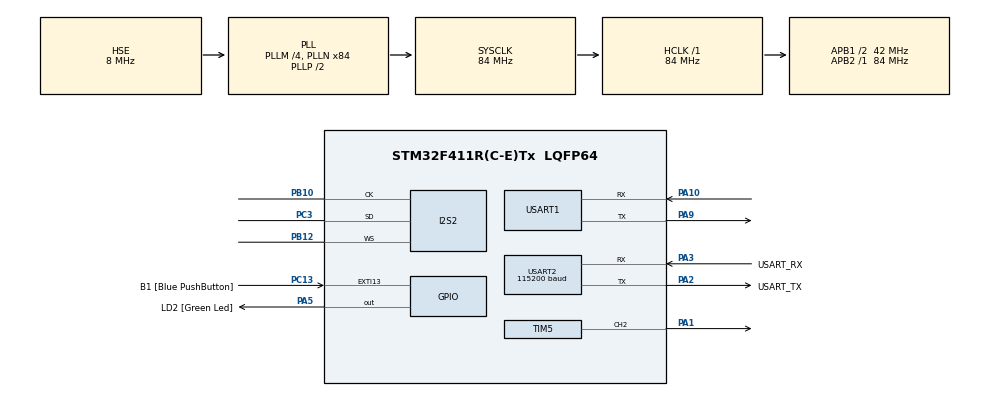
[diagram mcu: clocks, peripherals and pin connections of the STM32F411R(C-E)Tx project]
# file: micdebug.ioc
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Dma.Request0=SPI2_RX
Dma.SPI2_RX.0.Direction=DMA_PERIPH_TO_MEMORY
Dma.SPI2_RX.0.FIFOMode=DMA_FIFOMODE_DISABLE
Dma.SPI2_RX.0.Instance=DMA1_Stream3
Dma.SPI2_RX.0.MemDataAlignment=DMA_MDATAALIGN_HALFWORD
Dma.SPI2_RX.0.MemInc=DMA_MINC_ENABLE
Dma.SPI2_RX.0.Mode=DMA_CIRCULAR
Dma.SPI2_RX.0.PeriphDataAlignment=DMA_PDATAALIGN_HALFWORD
Dma.SPI2_RX.0.PeriphInc=DMA_PINC_DISABLE
Dma.SPI2_RX.0.Priority=DMA_PRIORITY_LOW
FREERTOS.Queues01=commandQueue,10,uint8_t,0,Dynamic,NULL,NULL
FREERTOS.Tasks01=defaultTask,0,128,StartDefaultTask,Default,NULL,Dynamic,NULL,NULL;AudioTask,0,10240,StartAudioTask,Default,NULL,Dynamic,NULL,NULL;ControlTask,2,512,StartControlTask,Default,NULL,Dynamic,NULL,NULL
FREERTOS.configTOTAL_HEAP_SIZE=60000
I2S2.AudioFreq=I2S_AUDIOFREQ_16K
I2S2.DataFormat=I2S_DATAFORMAT_16B
I2S2.ErrorAudioFreq=0.0 %
I2S2.FullDuplexMode=I2S_FULLDUPLEXMODE_DISABLE
I2S2.Instance=SPI$Index
I2S2.Mode=I2S_MODE_MASTER_RX
I2S2.RealAudioFreq=16.0 KHz
I2S2.VirtualMode=I2S_MODE_MASTER
Mcu.Family=STM32F4
Mcu.Name=STM32F411R(C-E)Tx
Mcu.Package=LQFP64
NVIC.DMA1_Stream3_IRQn=true\:5\:0\:false\:false\:true\:true\:false\:true\:true
NVIC.PriorityGroup=NVIC_PRIORITYGROUP_4
NVIC.SPI2_IRQn=true\:5\:0\:false\:false\:true\:true\:true\:true\:true
NVIC.TIM3_IRQn=true\:5\:0\:false\:false\:true\:true\:true\:true\:true
NVIC.TIM5_IRQn=true\:5\:0\:false\:false\:true\:true\:true\:true\:true
NVIC.USART1_IRQn=true\:5\:0\:false\:false\:true\:true\:true\:true\:true
NVIC.USART2_IRQn=true\:5\:0\:false\:false\:true\:true\:true\:true\:true
PA1.Signal=S_TIM5_CH2
PA10.Mode=Asynchronous
PA10.Signal=USART1_RX
PA13.GPIO_Label=TMS
PA13.Mode=Serial_Wire
PA13.Signal=SYS_JTMS-SWDIO
PA14.GPIO_Label=TCK
PA14.Mode=Serial_Wire
PA14.Signal=SYS_JTCK-SWCLK
PA2.GPIO_Label=USART_TX
PA2.Mode=Asynchronous
PA2.Signal=USART2_TX
PA3.GPIO_Label=USART_RX
PA3.Mode=Asynchronous
PA3.Signal=USART2_RX
PA5.GPIO_Label=LD2 [Green Led]
PA5.Signal=GPIO_Output
PA9.Mode=Asynchronous
PA9.Signal=USART1_TX
PB10.Mode=Half_Duplex_Master
PB10.Signal=I2S2_CK
PB12.Mode=Half_Duplex_Master
PB12.Signal=I2S2_WS
PB3.GPIO_Label=SWO
PB3.Signal=SYS_JTDO-SWO
PC13-ANTI_TAMP.GPIO_Label=B1 [Blue PushButton]
PC13-ANTI_TAMP.GPIO_ModeDefaultEXTI=GPIO_MODE_IT_FALLING
PC13-ANTI_TAMP.Signal=GPXTI13
PC14-OSC32_IN.Mode=LSE-External-Oscillator
PC14-OSC32_IN.Signal=RCC_OSC32_IN
PC15-OSC32_OUT.Mode=LSE-External-Oscillator
PC15-OSC32_OUT.Signal=RCC_OSC32_OUT
PC3.Mode=Half_Duplex_Master
PC3.Signal=I2S2_SD
PH0\ -\ OSC_IN.Mode=HSE-External-Clock-Source
PH0\ -\ OSC_IN.Signal=RCC_OSC_IN
PH1\ -\ OSC_OUT.Mode=HSE-External-Clock-Source
PH1\ -\ OSC_OUT.Signal=RCC_OSC_OUT
ProjectManager.HeapSize=0x200
ProjectManager.StackSize=0x400
ProjectManager.TargetToolchain=STM32CubeIDE
RCC.48MHZClocksFreq_Value=56000000
RCC.AHBFreq_Value=84000000
RCC.APB1CLKDivider=RCC_HCLK_DIV2
RCC.APB1Freq_Value=42000000
RCC.APB1TimFreq_Value=84000000
RCC.APB2Freq_Value=84000000
RCC.APB2TimFreq_Value=84000000
RCC.CortexFreq_Value=84000000
RCC.FLatency-AdvancedSettings=FLASH_LATENCY_2
RCC.HCLKFreq_Value=84000000
RCC.HSE_VALUE=8000000
RCC.HSI_VALUE=16000000
RCC.PLLI2SM=4
RCC.PLLM=4
RCC.PLLN=84
RCC.PLLQ=3
RCC.PLLSourceVirtual=RCC_PLLSOURCE_HSE
RCC.SYSCLKFreq_VALUE=84000000
RCC.SYSCLKSource=RCC_SYSCLKSOURCE_PLLCLK
RCC.VCOOutputFreq_Value=168000000
SH.S_TIM5_CH2.0=TIM5_CH2,PWM Generation2 CH2
TIM3.Prescaler=83
TIM5.Channel-PWM\ Generation2\ CH2=TIM_CHANNEL_2
TIM5.Period=1894
TIM5.Pulse-PWM\ Generation2\ CH2=947
USART1.VirtualMode=VM_ASYNC
USART2.BaudRate=115200
USART2.VirtualMode=VM_ASYNC
VP_CRC_VS_CRC.Mode=CRC_Activate
VP_FREERTOS_VS_CMSIS_V1.Mode=CMSIS_V1
VP_TIM3_VS_ClockSourceINT.Mode=Internal
board=NUCLEO-F411RE

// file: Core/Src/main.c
/* USER CODE BEGIN Header */
/**
  ******************************************************************************
  * @file           : main.c
  * @brief          : Main program body
  ******************************************************************************
  * @attention
  *
  * Copyright (c) 2025 STMicroelectronics.
  * All rights reserved.
  *
  * This software is licensed under terms that can be found in the LICENSE file
  * in the root directory of this software component.
  * If no LICENSE file comes with this software, it is provided AS-IS.
  *
  ******************************************************************************
  */
/* USER CODE END Header */
#include "main.h"
#include "cmsis_os.h"

/* USER CODE BEGIN Includes */
#include <string.h>
#include <stdio.h>
#include <stdint.h>
#include <stdbool.h>
#include <ctype.h>
#include <stdlib.h>
#include "pv_st_f411.h"
#include "stm32f4xx_hal.h"

// --- PORCUPINE INCLUDES ---
#include "pv_picovoice.h"
#include "keyword_params.h" // Your Alexa/Keyword header
/* USER CODE END Includes */

/* USER CODE BEGIN PTD */
typedef enum {
    IR_IDLE = 0,
    IR_SENDING_MARK,
    IR_SENDING_SPACE
} IR_State_t;

typedef struct {
    uint16_t mark_us;
    uint16_t space_us;
} IR_Pulse_t;

/* USER CODE END PTD */

/* USER CODE BEGIN PD */
// --- AUDIO CONFIG ---
#define SAMPLE_RATE 16000
#define FRAME_SIZE 512
#define CHANNELS 2
#define I2S_BUFFER_SIZE (FRAME_SIZE * CHANNELS * 2)
#define MEMORY_BUFFER_SIZE (1024 * 43)

// --- DAIKIN / HW CONFIG ---
#define DHT11_PORT GPIOB
#define DHT11_PIN  GPIO_PIN_0

#define DAIKIN176_HDR_MARK      5070
#define DAIKIN176_HDR_SPACE     2140
#define DAIKIN176_BIT_MARK      370
#define DAIKIN176_ONE_SPACE     1780
#define DAIKIN176_ZERO_SPACE    710
#define DAIKIN176_GAP           29410
#define DAIKIN176_STATE_LENGTH  22
#define DAIKIN176_SECTION1_LEN  7
#define MAX_PULSES              300

// AC Constants
#define DAIKIN176_MODE_FAN      0
#define DAIKIN176_MODE_HEAT     1
#define DAIKIN176_MODE_COOL     2
#define DAIKIN176_MODE_AUTO     3
#define DAIKIN176_MODE_DRY      7

#define DAIKIN176_FAN_LOW       1
#define DAIKIN176_FAN_MED       2
#define DAIKIN176_FAN_HIGH      3
#define DAIKIN176_SWING_AUTO    0x5
#define DAIKIN176_SWING_OFF     0x6
#define DAIKIN176_DRY_FAN_TEMP  17
/* USER CODE END PD */

CRC_HandleTypeDef hcrc;

I2S_HandleTypeDef hi2s2;
DMA_HandleTypeDef hdma_spi2_rx;

TIM_HandleTypeDef htim3;
TIM_HandleTypeDef htim5;

UART_HandleTypeDef huart1;
UART_HandleTypeDef huart2;

osThreadId defaultTaskHandle;
osThreadId AudioTaskHandle;
osThreadId ControlTaskHandle;
osMessageQId commandQueueHandle;
/* USER CODE BEGIN PV */
int __io_putchar(int ch) {
    HAL_UART_Transmit(&huart2, (uint8_t *)&ch, 1, 10);
    return ch;
}

// --- HARDWARE HANDLES ---
TIM_HandleTypeDef htim3; // Manually added as it was missing in generated code

// --- AUDIO DATA ---
uint16_t i2s_rx_buffer[I2S_BUFFER_SIZE];
int16_t mono_pcm_buffer[FRAME_SIZE];
volatile uint8_t half_transfer_flag = 0;
volatile uint8_t full_transfer_flag = 0;

//static const char* ACCESS_KEY = "1tRtNkoHDZntOJsz9hWww1pEZ7Ox8nzMBa14btCoTyUTSTBFRxgd/A==";
static const char* ACCESS_KEY = "cTKsua4o2+I4XCobOlBW3ujPKjrQAV8W6ZoyLiBfsdZgJbtYkuPqZQ==";
static uint8_t memory_buffer[MEMORY_BUFFER_SIZE] __attribute__((aligned(16)));
// Picovoice Objects
pv_picovoice_t *picovoice_handle = NULL;

// Parameters
static const float PORCUPINE_SENSITIVITY = 0.75f;
static const float RHINO_SENSITIVITY = 0.5f;
static const float RHINO_ENDPOINT_DURATION_SEC = 0.5f;
static const bool RHINO_REQUIRE_ENDPOINT = true;

// --- AC / UART DATA ---
uint8_t rx_buffer[1];
char msg_buffer[50];
int msg_index = 0;
volatile uint8_t msg_ready = 0;
char tx_buffer[200];

// AC Internal State
uint8_t ac_power = 0;
uint8_t ac_mode = DAIKIN176_MODE_COOL;
uint8_t ac_fan = DAIKIN176_FAN_MED;
uint8_t ac_temp = 25;
uint8_t ac_swing = 0;

uint8_t R_H, R_D, T_H, T_D, Sum;

// IR State
uint8_t daikin176_state[DAIKIN176_STATE_LENGTH] = {
    0x11, 0xDA, 0x17, 0x18, 0x04, 0x00, 0xC4,
    0x11, 0xDA, 0x17, 0x18, 0x00, 0x73, 0x00,
    0x20, 0x00, 0x00, 0x32, 0x60, 0x00, 0x00, 0x00
};
volatile IR_State_t ir_state = IR_IDLE;
volatile IR_Pulse_t pulse_buffer[MAX_PULSES];
volatile uint16_t pulse_count = 0;
volatile uint16_t pulse_index = 0;
volatile bool ir_busy = false;

// DHT11
uint8_t temp_int = 0, hum_int = 0;
/* USER CODE END PV */

void SystemClock_Config(void);
static void MX_GPIO_Init(void);
static void MX_DMA_Init(void);
static void MX_USART2_UART_Init(void);
static void MX_I2S2_Init(void);
static void MX_CRC_Init(void);
static void MX_USART1_UART_Init(void);
static void MX_TIM5_Init(void);
static void MX_TIM3_Init(void);
void StartDefaultTask(void const * argument);
void StartAudioTask(void const * argument);
void StartControlTask(void const * argument);

/* USER CODE BEGIN PFP */

void AC_SetMode(uint8_t mode);
void AC_SetFan(uint8_t speed);
void AC_SetSwing(uint8_t on);
const char* AC_GetModeString(uint8_t mode);
const char* AC_GetFanString(uint8_t fan);
bool IR_IsBusy(void);
// AC/IR Functions
void AC_SetPower(uint8_t on);
void AC_SetTemp(uint8_t temp);
void AC_SendCommand(void);
void AC_UpdateState(void);
void IR_BuildDaikin176(void);
void IR_StartTransmission(void);
void IR_AddPulse(uint16_t mark_us, uint16_t space_us);
uint8_t IR_CalculateChecksum(uint8_t *data, uint8_t length);
uint8_t DHT11_Read_Data(void);
void DWT_Delay_us(volatile uint32_t microseconds);
/* USER CODE END PFP */

/* USER CODE BEGIN 0 */
bool flagOn = 1;

// Enum for Queue Commands
enum {
    CMD_NONE = 0,
    CMD_WAKE_WORD_DETECTED,
    CMD_UART_MSG_READY,
    // Voice Commands
    CMD_AC_ON, CMD_AC_OFF,
    CMD_FAN_LOW, CMD_FAN_MED, CMD_FAN_HIGH,
    CMD_MODE_COOL, CMD_MODE_DRY, CMD_MODE_FAN,
    CMD_TEMP_WARMER, CMD_TEMP_COOLER,
    CMD_SWING_ON, CMD_SWING_OFF
};

// Helper to find slot value in inference result
const char* get_slot_value(pv_inference_t *inference, const char* slot_name) {
    for (int i = 0; i < inference->num_slots; i++) {
        if (strcmp(inference->slots[i], slot_name) == 0) {
            return inference->values[i];
        }
    }
    return NULL;
}
static void wake_word_callback(void) {
    char uart_buf[64]; // Buffer for the message
    int len;

    // Visual feedback
    HAL_GPIO_WritePin(LD2_GPIO_Port, LD2_Pin, GPIO_PIN_SET);

    // Format and Send
    len = sprintf(uart_buf, "[Wake Word Detected]\r\n");
    HAL_UART_Transmit(&huart2, (uint8_t*)uart_buf, len, 100);
}

static void inference_callback(pv_inference_t *inference) {
    char uart_buf[256]; // Larger buffer for JSON data
    int len;

    HAL_GPIO_WritePin(LD2_GPIO_Port, LD2_Pin, GPIO_PIN_RESET);

    // 1. Open Bracket
    len = sprintf(uart_buf, "{\r\n");
    HAL_UART_Transmit(&huart2, (uint8_t*)uart_buf, len, 100);

    // 2. Is Understood
    len = sprintf(uart_buf, "    is_understood : '%s',\r\n", (inference->is_understood ? "true" : "false"));
    HAL_UART_Transmit(&huart2, (uint8_t*)uart_buf, len, 100);

    if (inference->is_understood) {
        // 3. Intent
        len = sprintf(uart_buf, "    intent : '%s',\r\n", inference->intent);
        HAL_UART_Transmit(&huart2, (uint8_t*)uart_buf, len, 100);

        if (inference->num_slots > 0) {
            // 4. Slots Header
            len = sprintf(uart_buf, "    slots : {\r\n");
            HAL_UART_Transmit(&huart2, (uint8_t*)uart_buf, len, 100);

            // 5. Iterate Slots
            for (int32_t i = 0; i < inference->num_slots; i++) {
                len = sprintf(uart_buf, "        '%s' : '%s',\r\n", inference->slots[i], inference->values[i]);
                HAL_UART_Transmit(&huart2, (uint8_t*)uart_buf, len, 100);
            }

            // 6. Close Slots
            len = sprintf(uart_buf, "    }\r\n");
            HAL_UART_Transmit(&huart2, (uint8_t*)uart_buf, len, 100);
        }
    }

    // 7. Close JSON
    len = sprintf(uart_buf, "}\r\n\r\n");
    HAL_UART_Transmit(&huart2, (uint8_t*)uart_buf, len, 100);

    uint8_t command_to_send = CMD_NONE;

        if (inference->is_understood) {
            if (strcmp(inference->intent, "changePower") == 0) {
                const char* state = get_slot_value(inference, "ac_state");
                if (state) {
                    if (strcmp(state, "on") == 0) command_to_send = CMD_AC_ON;
                    else if (strcmp(state, "off") == 0) command_to_send = CMD_AC_OFF;
                }
            }
            else if (strcmp(inference->intent, "changeFan") == 0) {
                const char* speed = get_slot_value(inference, "fan_speed");
                if (speed) {
                    if (strcmp(speed, "low") == 0) command_to_send = CMD_FAN_LOW;
                    else if (strcmp(speed, "med") == 0) command_to_send = CMD_FAN_MED;
                    else if (strcmp(speed, "high") == 0) command_to_send = CMD_FAN_HIGH;
                }
            }
            else if (strcmp(inference->intent, "changeMode") == 0) {
                const char* mode = get_slot_value(inference, "ac_mode");
                if (mode) {
                    if (strcmp(mode, "cool") == 0) command_to_send = CMD_MODE_COOL;
                    else if (strcmp(mode, "dry") == 0) command_to_send = CMD_MODE_DRY;
                    else if (strcmp(mode, "fan") == 0) command_to_send = CMD_MODE_FAN;
                }
            }
            else if (strcmp(inference->intent, "changeTemp") == 0) {
                const char* temp = get_slot_value(inference, "temperature");
                if (temp) {
                    if (strcmp(temp, "warmer") == 0) command_to_send = CMD_TEMP_WARMER;
                    else if (strcmp(temp, "cooler") == 0) command_to_send = CMD_TEMP_COOLER;
                }
            }
            else if (strcmp(inference->intent, "changeSwing") == 0) {
                const char* state = get_slot_value(inference, "ac_state");
                if (state) {
                    if (strcmp(state, "on") == 0) command_to_send = CMD_SWING_ON;
                    else if (strcmp(state, "off") == 0) command_to_send = CMD_SWING_OFF;
                }
            }
        }

        // Send the mapped command to the Control Task
        if (command_to_send != CMD_NONE) {
            osMessagePut(commandQueueHandle, command_to_send, 0);
        }
    pv_inference_delete(inference);
}
/* USER CODE END 0 */

int main(void)
{

  /* USER CODE BEGIN 1 */
	//pv_board_init();

  /* USER CODE END 1 */

  /* MCU Configuration--------------------------------------------------------*/

  /* Reset of all peripherals, Initializes the Flash interface and the Systick. */
  HAL_Init();

  /* Configure the system clock */
  SystemClock_Config();

  /* Initialize all configured peripherals */
  MX_GPIO_Init();
  MX_DMA_Init();
  MX_USART2_UART_Init();
  MX_I2S2_Init();
  MX_CRC_Init();
  MX_USART1_UART_Init();
  MX_TIM5_Init();
  MX_TIM3_Init();
  /* USER CODE BEGIN 2 */
  DWT_Delay_Init();

  const int32_t lib_frame_len = pv_picovoice_frame_length();

       char uart_buf[64]; // Buffer for UART messages
       int len;

       // Check if there is a mismatch at startup
       if (lib_frame_len != FRAME_SIZE) {
           len = sprintf(uart_buf, "CRITICAL WARNING: Lib wants %ld samples, but DMA is %d\r\n", lib_frame_len, FRAME_SIZE);
           HAL_UART_Transmit(&huart2, (uint8_t*)uart_buf, len, 100);
           // If you see this warning, you MUST change #define FRAME_SIZE in main.h
       } else {
           len = sprintf(uart_buf, "Audio Task Started. Frame Len: %ld\r\n", lib_frame_len);
           HAL_UART_Transmit(&huart2, (uint8_t*)uart_buf, len, 100);
       }

       int32_t required_memory = 0;

           // We use the existing 'memory_buffer' as the scratchpad (preliminary buffer)
           pv_status_t mem_status = pv_picovoice_get_min_memory_buffer_size(
               MEMORY_BUFFER_SIZE,      // 1. Preliminary Size (Your max buffer)
               memory_buffer,           // 2. Preliminary Buffer Pointer
               sizeof(KEYWORD_ARRAY),   // 3. Keyword Size
               KEYWORD_ARRAY,           // 4. Keyword Model
               sizeof(CONTEXT_ARRAY),   // 5. Context Size
               CONTEXT_ARRAY,           // 6. Context Model
               &required_memory         // 7. Output: The actual size needed
           );

           if (mem_status != PV_STATUS_SUCCESS) {
               char err_buf[64];
               int l = sprintf(err_buf, "PV Mem Check Fail: %s\r\n", pv_status_to_string(mem_status));
               HAL_UART_Transmit(&huart2, (uint8_t*)err_buf, l, 100);
               Error_Handler();
           }

           // Print the result to UART
           char mem_msg[64];
           int l = sprintf(mem_msg, "PV RAM Needed: %ld bytes\r\n", required_memory);
           HAL_UART_Transmit(&huart2, (uint8_t*)mem_msg, l, 100);

           // Verify we have enough space
           if (required_memory > MEMORY_BUFFER_SIZE) {
               char err_msg[] = "ERROR: MEMORY_BUFFER_SIZE too small!\r\n";
               HAL_UART_Transmit(&huart2, (uint8_t*)err_msg, strlen(err_msg), 100);
               Error_Handler();
           }
  // 1. Initialize Manual Hardware (TIM3 & DWT)

    // 2. RE-CONFIGURE TIM5 for 38kHz (Your generated code set it to MAX)
    // Assuming 72MHz or 84MHz clock. This sets period to ~26us
    __HAL_TIM_SET_PRESCALER(&htim5, 0);
    __HAL_TIM_SET_AUTORELOAD(&htim5, 2210); // Adjust based on your APB1 clock!
    __HAL_TIM_SET_COMPARE(&htim5, TIM_CHANNEL_2, 1105); // 50% Duty
    pv_board_init();
     const uint8_t *board_uuid = pv_get_uuid();
//
//    	char uart_buf[64];
//    	int len;
//
//    	// 1. Print Opening Separator
//    	len = sprintf(uart_buf, "\r\n============================\r\n");
//    	HAL_UART_Transmit(&huart2, (uint8_t*)uart_buf, len, 100);
//
//    	// 2. Print UUID Label
//    	len = sprintf(uart_buf, "UUID: ");
//    	HAL_UART_Transmit(&huart2, (uint8_t*)uart_buf, len, 100);
//
//    	// 3. Print UUID Bytes Loop
//    	for (uint32_t i = 0; i < pv_get_uuid_size(); i++) {
//    	    len = sprintf(uart_buf, " %.2x", board_uuid[i]);
//    	    HAL_UART_Transmit(&huart2, (uint8_t*)uart_buf, len, 100);
//    	}
//
//    	// 4. Print Closing Separator
//    	len = sprintf(uart_buf, "\r\n============================\r\n");
//    	HAL_UART_Transmit(&huart2, (uint8_t*)uart_buf, len, 100);
    printf("\r\n============================\r\n");

        printf("UUID: ");

        for (uint32_t i = 0; i < pv_get_uuid_size(); i++) {

            printf(" %.2x", board_uuid[i]);

        }

        printf("\r\n============================\r\n");

        // 3. Picovoice Init (Replaces Porcupine Init)
            pv_status_t status = pv_picovoice_init(
                    ACCESS_KEY,
                    MEMORY_BUFFER_SIZE,
                    memory_buffer,
                    sizeof(KEYWORD_ARRAY),
                    KEYWORD_ARRAY,
                    PORCUPINE_SENSITIVITY,
                    wake_word_callback,
                    sizeof(CONTEXT_ARRAY),
                    CONTEXT_ARRAY,
                    RHINO_SENSITIVITY,
                    RHINO_ENDPOINT_DURATION_SEC,
                    RHINO_REQUIRE_ENDPOINT,
                    inference_callback,
                    &picovoice_handle);

            if (status != PV_STATUS_SUCCESS) {
                char err_msg[64];
                sprintf(err_msg, "PV INIT FAIL: %s\r\n", pv_status_to_string(status));
                HAL_UART_Transmit(&huart2, (uint8_t*)err_msg, strlen(err_msg), 100);
                Error_Handler();
            } else {
                // Print Context Info for debugging
                const char *rhino_context = NULL;
                pv_picovoice_context_info(picovoice_handle, &rhino_context);
                printf("Context: %s\r\n", rhino_context);
            }

    // 4. Start Listening
    AC_UpdateState();
    IR_BuildDaikin176();
    HAL_UART_Receive_IT(&huart1, rx_buffer, 1);
    HAL_I2S_Receive_DMA(&hi2s2, i2s_rx_buffer, I2S_BUFFER_SIZE);

    // 5. Create RTOS Objects
//    osMessageQDef(cmdQ, 5, uint8_t);
//    commandQueueHandle = osMessageCreate(osMessageQ(cmdQ), NULL);
//
//    osThreadDef(AudioTask, StartAudioTask, osPriorityAboveNormal, 0, 4096);
//    AudioTaskHandle = osThreadCreate(osThread(AudioTask), NULL);
//
//    osThreadDef(ControlTask, StartControlTask, osPriorityNormal, 0, 1024);
//    ControlTaskHandle = osThreadCreate(osThread(ControlTask), NULL);

    char msg[] = "\r\nstarting\r\n";
                            HAL_UART_Transmit(&huart2, (uint8_t*)msg, strlen(msg), 100);

    // Note: We ignore defaultTask created below, it will just yield.
  /* USER CODE END 2 */

  /* Create the queue(s) */
  /* definition and creation of commandQueue */
  osMessageQDef(commandQueue, 10, uint8_t);
  commandQueueHandle = osMessageCreate(osMessageQ(commandQueue), NULL);

  /* Create the thread(s) */
  /* definition and creation of defaultTask */
  osThreadDef(defaultTask, StartDefaultTask, osPriorityNormal, 0, 128);
  defaultTaskHandle = osThreadCreate(osThread(defaultTask), NULL);

  /* definition and creation of AudioTask */
  osThreadDef(AudioTask, StartAudioTask, osPriorityNormal, 0, 10240);
  AudioTaskHandle = osThreadCreate(osThread(AudioTask), NULL);

  /* definition and creation of ControlTask */
  osThreadDef(ControlTask, StartControlTask, osPriorityHigh, 0, 512);
  ControlTaskHandle = osThreadCreate(osThread(ControlTask), NULL);

  /* Start scheduler */
  osKernelStart();

  /* We should never get here as control is now taken by the scheduler */

  /* Infinite loop */
  while (1)
  {

  }
}

void SystemClock_Config(void)
{
  RCC_OscInitTypeDef RCC_OscInitStruct = {0};
  RCC_ClkInitTypeDef RCC_ClkInitStruct = {0};

  /** Configure the main internal regulator output voltage
  */
  __HAL_RCC_PWR_CLK_ENABLE();
  __HAL_PWR_VOLTAGESCALING_CONFIG(PWR_REGULATOR_VOLTAGE_SCALE1);

  /** Initializes the RCC Oscillators according to the specified parameters
  * in the RCC_OscInitTypeDef structure.
  */
  RCC_OscInitStruct.OscillatorType = RCC_OSCILLATORTYPE_HSE;
  RCC_OscInitStruct.HSEState = RCC_HSE_BYPASS;
  RCC_OscInitStruct.PLL.PLLState = RCC_PLL_ON;
  RCC_OscInitStruct.PLL.PLLSource = RCC_PLLSOURCE_HSE;
  RCC_OscInitStruct.PLL.PLLM = 4;
  RCC_OscInitStruct.PLL.PLLN = 84;
  RCC_OscInitStruct.PLL.PLLP = RCC_PLLP_DIV2;
  RCC_OscInitStruct.PLL.PLLQ = 3;
  if (HAL_RCC_OscConfig(&RCC_OscInitStruct) != HAL_OK)
  {
    Error_Handler();
  }

  /** Initializes the CPU, AHB and APB buses clocks
  */
  RCC_ClkInitStruct.ClockType = RCC_CLOCKTYPE_HCLK|RCC_CLOCKTYPE_SYSCLK
                              |RCC_CLOCKTYPE_PCLK1|RCC_CLOCKTYPE_PCLK2;
  RCC_ClkInitStruct.SYSCLKSource = RCC_SYSCLKSOURCE_PLLCLK;
  RCC_ClkInitStruct.AHBCLKDivider = RCC_SYSCLK_DIV1;
  RCC_ClkInitStruct.APB1CLKDivider = RCC_HCLK_DIV2;
  RCC_ClkInitStruct.APB2CLKDivider = RCC_HCLK_DIV1;

  if (HAL_RCC_ClockConfig(&RCC_ClkInitStruct, FLASH_LATENCY_2) != HAL_OK)
  {
    Error_Handler();
  }
}

static void MX_CRC_Init(void)
{

  hcrc.Instance = CRC;
  if (HAL_CRC_Init(&hcrc) != HAL_OK)
  {
    Error_Handler();
  }

}

static void MX_I2S2_Init(void)
{

  hi2s2.Instance = SPI2;
  hi2s2.Init.Mode = I2S_MODE_MASTER_RX;
  hi2s2.Init.Standard = I2S_STANDARD_PHILIPS;
  hi2s2.Init.DataFormat = I2S_DATAFORMAT_16B;
  hi2s2.Init.MCLKOutput = I2S_MCLKOUTPUT_DISABLE;
  hi2s2.Init.AudioFreq = I2S_AUDIOFREQ_16K;
  hi2s2.Init.CPOL = I2S_CPOL_LOW;
  hi2s2.Init.ClockSource = I2S_CLOCK_PLL;
  hi2s2.Init.FullDuplexMode = I2S_FULLDUPLEXMODE_DISABLE;
  if (HAL_I2S_Init(&hi2s2) != HAL_OK)
  {
    Error_Handler();
  }

}

static void MX_TIM3_Init(void)
{

  TIM_ClockConfigTypeDef sClockSourceConfig = {0};
  TIM_MasterConfigTypeDef sMasterConfig = {0};

  htim3.Instance = TIM3;
  htim3.Init.Prescaler = 83;
  htim3.Init.CounterMode = TIM_COUNTERMODE_UP;
  htim3.Init.Period = 65535;
  htim3.Init.ClockDivision = TIM_CLOCKDIVISION_DIV1;
  htim3.Init.AutoReloadPreload = TIM_AUTORELOAD_PRELOAD_DISABLE;
  if (HAL_TIM_Base_Init(&htim3) != HAL_OK)
  {
    Error_Handler();
  }
  sClockSourceConfig.ClockSource = TIM_CLOCKSOURCE_INTERNAL;
  if (HAL_TIM_ConfigClockSource(&htim3, &sClockSourceConfig) != HAL_OK)
  {
    Error_Handler();
  }
  sMasterConfig.MasterOutputTrigger = TIM_TRGO_RESET;
  sMasterConfig.MasterSlaveMode = TIM_MASTERSLAVEMODE_DISABLE;
  if (HAL_TIMEx_MasterConfigSynchronization(&htim3, &sMasterConfig) != HAL_OK)
  {
    Error_Handler();
  }

}

static void MX_TIM5_Init(void)
{

  TIM_MasterConfigTypeDef sMasterConfig = {0};
  TIM_OC_InitTypeDef sConfigOC = {0};

  htim5.Instance = TIM5;
  htim5.Init.Prescaler = 0;
  htim5.Init.CounterMode = TIM_COUNTERMODE_UP;
  htim5.Init.Period = 1894;
  htim5.Init.ClockDivision = TIM_CLOCKDIVISION_DIV1;
  htim5.Init.AutoReloadPreload = TIM_AUTORELOAD_PRELOAD_DISABLE;
  if (HAL_TIM_PWM_Init(&htim5) != HAL_OK)
  {
    Error_Handler();
  }
  sMasterConfig.MasterOutputTrigger = TIM_TRGO_RESET;
  sMasterConfig.MasterSlaveMode = TIM_MASTERSLAVEMODE_DISABLE;
  if (HAL_TIMEx_MasterConfigSynchronization(&htim5, &sMasterConfig) != HAL_OK)
  {
    Error_Handler();
  }
  sConfigOC.OCMode = TIM_OCMODE_PWM1;
  sConfigOC.Pulse = 947;
  sConfigOC.OCPolarity = TIM_OCPOLARITY_HIGH;
  sConfigOC.OCFastMode = TIM_OCFAST_DISABLE;
  if (HAL_TIM_PWM_ConfigChannel(&htim5, &sConfigOC, TIM_CHANNEL_2) != HAL_OK)
  {
    Error_Handler();
  }
  HAL_TIM_MspPostInit(&htim5);

}

static void MX_USART1_UART_Init(void)
{

  huart1.Instance = USART1;
  huart1.Init.BaudRate = 115200;
  huart1.Init.WordLength = UART_WORDLENGTH_8B;
  huart1.Init.StopBits = UART_STOPBITS_1;
  huart1.Init.Parity = UART_PARITY_NONE;
  huart1.Init.Mode = UART_MODE_TX_RX;
  huart1.Init.HwFlowCtl = UART_HWCONTROL_NONE;
  huart1.Init.OverSampling = UART_OVERSAMPLING_16;
  if (HAL_UART_Init(&huart1) != HAL_OK)
  {
    Error_Handler();
  }

}

static void MX_USART2_UART_Init(void)
{

  huart2.Instance = USART2;
  huart2.Init.BaudRate = 115200;
  huart2.Init.WordLength = UART_WORDLENGTH_8B;
  huart2.Init.StopBits = UART_STOPBITS_1;
  huart2.Init.Parity = UART_PARITY_NONE;
  huart2.Init.Mode = UART_MODE_TX_RX;
  huart2.Init.HwFlowCtl = UART_HWCONTROL_NONE;
  huart2.Init.OverSampling = UART_OVERSAMPLING_16;
  if (HAL_UART_Init(&huart2) != HAL_OK)
  {
    Error_Handler();
  }

}

static void MX_DMA_Init(void)
{

  /* DMA controller clock enable */
  __HAL_RCC_DMA1_CLK_ENABLE();

  /* DMA interrupt init */
  /* DMA1_Stream3_IRQn interrupt configuration */
  HAL_NVIC_SetPriority(DMA1_Stream3_IRQn, 5, 0);
  HAL_NVIC_EnableIRQ(DMA1_Stream3_IRQn);

}

static void MX_GPIO_Init(void)
{
  GPIO_InitTypeDef GPIO_InitStruct = {0};

  /* GPIO Ports Clock Enable */
  __HAL_RCC_GPIOC_CLK_ENABLE();
  __HAL_RCC_GPIOH_CLK_ENABLE();
  __HAL_RCC_GPIOA_CLK_ENABLE();
  __HAL_RCC_GPIOB_CLK_ENABLE();

  /*Configure GPIO pin Output Level */
  HAL_GPIO_WritePin(LD2_GPIO_Port, LD2_Pin, GPIO_PIN_RESET);

  /*Configure GPIO pin : B1_Pin */
  GPIO_InitStruct.Pin = B1_Pin;
  GPIO_InitStruct.Mode = GPIO_MODE_IT_FALLING;
  GPIO_InitStruct.Pull = GPIO_NOPULL;
  HAL_GPIO_Init(B1_GPIO_Port, &GPIO_InitStruct);

  /*Configure GPIO pin : LD2_Pin */
  GPIO_InitStruct.Pin = LD2_Pin;
  GPIO_InitStruct.Mode = GPIO_MODE_OUTPUT_PP;
  GPIO_InitStruct.Pull = GPIO_NOPULL;
  GPIO_InitStruct.Speed = GPIO_SPEED_FREQ_LOW;
  HAL_GPIO_Init(LD2_GPIO_Port, &GPIO_InitStruct);

}

/* USER CODE BEGIN 4 */
// --- TASKS ---

// --- CALLBACKS ---

void HAL_I2S_RxHalfCpltCallback(I2S_HandleTypeDef *hi2s) { half_transfer_flag = 1; }
void HAL_I2S_RxCpltCallback(I2S_HandleTypeDef *hi2s) { full_transfer_flag = 1; }

void HAL_UART_RxCpltCallback(UART_HandleTypeDef *huart) {
    if (huart->Instance == USART1) {
        char received = (char)rx_buffer[0];

        // Check for Newline or Carriage Return
        if (received == '\n' || received == '\r') {
            // ONLY process if we actually have data in the buffer
            if (msg_index > 0) {
                msg_buffer[msg_index] = '\0'; // Null terminate the string
                msg_index = 0;                // Reset index IMMEDIATELY to prevent double trigger

                // Send to queue
                osMessagePut(commandQueueHandle, CMD_UART_MSG_READY, 0);
            }
            // If msg_index is 0, it means we just processed the \r,
            // so we ignore the following \n.
        }
        else {
            // It's a normal character, add to buffer
            if (msg_index < 49) {
                msg_buffer[msg_index++] = received;
            }
        }

        // Restart Interrupt
        HAL_UART_Receive_IT(&huart1, rx_buffer, 1);
    }
}

void HAL_TIM_PeriodElapsedCallback(TIM_HandleTypeDef *htim) {
    if (htim->Instance == TIM3) {
        if (ir_state == IR_SENDING_MARK) {
            HAL_TIM_PWM_Stop(&htim5, TIM_CHANNEL_2);
            if (pulse_buffer[pulse_index].space_us > 0) {
                ir_state = IR_SENDING_SPACE;
                __HAL_TIM_SET_COUNTER(&htim3, 0);
                __HAL_TIM_SET_AUTORELOAD(&htim3, pulse_buffer[pulse_index].space_us);
            } else {
                HAL_TIM_Base_Stop_IT(&htim3);
                ir_state = IR_IDLE;
                ir_busy = false;
            }
        } else if (ir_state == IR_SENDING_SPACE) {
            pulse_index++;
            if (pulse_index >= pulse_count) {
                HAL_TIM_Base_Stop_IT(&htim3);
                ir_state = IR_IDLE;
                ir_busy = false;
            } else {
                ir_state = IR_SENDING_MARK;
                HAL_TIM_PWM_Start(&htim5, TIM_CHANNEL_2);
                __HAL_TIM_SET_COUNTER(&htim3, 0);
                __HAL_TIM_SET_AUTORELOAD(&htim3, pulse_buffer[pulse_index].mark_us);
            }
        }
    }
}

void Set_Pin_Output(GPIO_TypeDef *GPIOx, uint16_t GPIO_Pin) {
    GPIO_InitTypeDef GPIO_InitStruct = {0};
    GPIO_InitStruct.Pin = GPIO_Pin;
    GPIO_InitStruct.Mode = GPIO_MODE_OUTPUT_PP;
    GPIO_InitStruct.Speed = GPIO_SPEED_FREQ_LOW;
    HAL_GPIO_Init(GPIOx, &GPIO_InitStruct);
}

void Set_Pin_Input(GPIO_TypeDef *GPIOx, uint16_t GPIO_Pin) {
    GPIO_InitTypeDef GPIO_InitStruct = {0};
    GPIO_InitStruct.Pin = GPIO_Pin;
    GPIO_InitStruct.Mode = GPIO_MODE_INPUT;
    GPIO_InitStruct.Pull = GPIO_NOPULL;
    HAL_GPIO_Init(GPIOx, &GPIO_InitStruct);
}
// AC Helper Functions
void AC_SetMode(uint8_t mode) {
    ac_mode = mode;
}

void AC_SetFan(uint8_t speed) {
    if (speed >= DAIKIN176_FAN_LOW && speed <= DAIKIN176_FAN_HIGH) {
        ac_fan = speed;
    }
}

void AC_SetSwing(uint8_t on) {
    ac_swing = on ? 1 : 0;
}

const char* AC_GetModeString(uint8_t mode) {
    switch (mode) {
        case DAIKIN176_MODE_COOL: return "cool";
        case DAIKIN176_MODE_HEAT: return "heat";
        case DAIKIN176_MODE_AUTO: return "auto";
        case DAIKIN176_MODE_DRY:  return "dry";
        case DAIKIN176_MODE_FAN:  return "fan";
        default: return "unknown";
    }
}

const char* AC_GetFanString(uint8_t fan) {
    switch (fan) {
        case DAIKIN176_FAN_LOW:  return "low";
        case DAIKIN176_FAN_MED:  return "medium";
        case DAIKIN176_FAN_HIGH: return "high";
        default: return "unknown";
    }
}

bool IR_IsBusy(void) {
    return ir_busy;
}
// --- AC IMPLEMENTATION ---

void AC_SetPower(uint8_t on) { ac_power = on ? 1 : 0; }
void AC_SetTemp(uint8_t temp) { if(temp >= 18 && temp <= 32) ac_temp = temp; }

void AC_UpdateState(void) {
    daikin176_state[14] = (ac_power & 0x01) | ((ac_mode & 0x07) << 4);
    uint8_t temp_val = (ac_mode == DAIKIN176_MODE_DRY || ac_mode == DAIKIN176_MODE_FAN) ? DAIKIN176_DRY_FAN_TEMP : ac_temp;
    daikin176_state[17] = (daikin176_state[17] & 0x81) | ((temp_val & 0x3F) << 1);
    uint8_t swing_val = ac_swing ? DAIKIN176_SWING_AUTO : DAIKIN176_SWING_OFF;
    daikin176_state[18] = (swing_val & 0x0F) | ((ac_fan & 0x0F) << 4);
}

void IR_BuildDaikin176(void) {
    pulse_count = 0;
    // Calculate Checksums
    uint8_t sum1 = 0; for(int i=0; i<6; i++) sum1 += daikin176_state[i]; daikin176_state[6] = sum1;
    uint8_t sum2 = 0; for(int i=7; i<21; i++) sum2 += daikin176_state[i]; daikin176_state[21] = sum2;

    IR_AddPulse(DAIKIN176_HDR_MARK, DAIKIN176_HDR_SPACE);
    for (uint8_t i = 0; i < DAIKIN176_SECTION1_LEN; i++) {
        uint8_t byte = daikin176_state[i];
        for (uint8_t bit = 0; bit < 8; bit++) {
            IR_AddPulse(DAIKIN176_BIT_MARK, (byte & 0x01) ? DAIKIN176_ONE_SPACE : DAIKIN176_ZERO_SPACE);
            byte >>= 1;
        }
    }
    IR_AddPulse(DAIKIN176_BIT_MARK, DAIKIN176_GAP);
    IR_AddPulse(DAIKIN176_HDR_MARK, DAIKIN176_HDR_SPACE);
    for (uint8_t i = DAIKIN176_SECTION1_LEN; i < DAIKIN176_STATE_LENGTH; i++) {
        uint8_t byte = daikin176_state[i];
        for (uint8_t bit = 0; bit < 8; bit++) {
            IR_AddPulse(DAIKIN176_BIT_MARK, (byte & 0x01) ? DAIKIN176_ONE_SPACE : DAIKIN176_ZERO_SPACE);
            byte >>= 1;
        }
    }
    IR_AddPulse(DAIKIN176_BIT_MARK, 0);
}

void IR_StartTransmission(void) {
    if (ir_busy) return;
    ir_busy = true;
    pulse_index = 0;
    ir_state = IR_SENDING_MARK;
    HAL_TIM_PWM_Start(&htim5, TIM_CHANNEL_2);
    __HAL_TIM_SET_COUNTER(&htim3, 0);
    __HAL_TIM_SET_AUTORELOAD(&htim3, pulse_buffer[0].mark_us);
    HAL_TIM_Base_Start_IT(&htim3);
}

void IR_AddPulse(uint16_t mark_us, uint16_t space_us) {
    if (pulse_count < MAX_PULSES) {
        pulse_buffer[pulse_count].mark_us = mark_us;
        pulse_buffer[pulse_count].space_us = space_us;
        pulse_count++;
    }
}

void AC_SendCommand(void) { AC_UpdateState(); IR_BuildDaikin176(); IR_StartTransmission(); }

void DWT_Delay_Init(void) {
    if (!(CoreDebug->DEMCR & CoreDebug_DEMCR_TRCENA_Msk)) {
        CoreDebug->DEMCR |= CoreDebug_DEMCR_TRCENA_Msk;
        DWT->CYCCNT = 0;
        DWT->CTRL |= DWT_CTRL_CYCCNTENA_Msk;
    }
}

// DHT11 Helper (Simple DWT)
void DWT_Delay_us(volatile uint32_t microseconds) {
    uint32_t clk_cycle_start = DWT->CYCCNT;
    microseconds *= (HAL_RCC_GetHCLKFreq() / 1000000);
    while ((DWT->CYCCNT - clk_cycle_start) < microseconds);
}

void DHT11_Start(void) {
    Set_Pin_Output(DHT11_PORT, DHT11_PIN);
    HAL_GPIO_WritePin(DHT11_PORT, DHT11_PIN, 0);

    // CHANGE: Use osDelay instead of HAL_Delay to let AudioTask run during this long wait
    osDelay(18);

    HAL_GPIO_WritePin(DHT11_PORT, DHT11_PIN, 1);
    DWT_Delay_us(20);
    Set_Pin_Input(DHT11_PORT, DHT11_PIN);
}

// Helper to read with timeout
// Returns -1 on timeout, 0 or 1 on success
int Wait_For_Pin_State(GPIO_TypeDef* port, uint16_t pin, GPIO_PinState state, uint32_t timeout_iters) {
    while (HAL_GPIO_ReadPin(port, pin) != state) {
        if (timeout_iters-- == 0) return -1;
    }
    return 0;
}

uint8_t DHT11_Check_Response(void) {
    uint8_t response = 0;
    DWT_Delay_us(40);

    // Add timeouts to these checks
    if (!(HAL_GPIO_ReadPin(DHT11_PORT, DHT11_PIN))) {
        DWT_Delay_us(80);
        if ((HAL_GPIO_ReadPin(DHT11_PORT, DHT11_PIN))) response = 1;
    }

    // Safety timeout prevents infinite loop
    if (Wait_For_Pin_State(DHT11_PORT, DHT11_PIN, GPIO_PIN_RESET, 10000) < 0) return 0; // Error

    return response;
}

uint8_t DHT11_Read_Byte(void) {
    uint8_t i = 0, j;
    for (j = 0; j < 8; j++) {
        // Wait for pin to go high (start of bit) with timeout
        if(Wait_For_Pin_State(DHT11_PORT, DHT11_PIN, GPIO_PIN_SET, 10000) < 0) return 0; // Timeout error

        DWT_Delay_us(40);

        if (!(HAL_GPIO_ReadPin(DHT11_PORT, DHT11_PIN))) {
            i &= ~(1 << (7 - j));
        } else {
            i |= (1 << (7 - j));
        }

        // Wait for pin to go low (end of bit) with timeout
        if(Wait_For_Pin_State(DHT11_PORT, DHT11_PIN, GPIO_PIN_RESET, 10000) < 0) return 0; // Timeout error
    }
    return i;
}

uint8_t DHT11_Read_Data(void) {
    // 1. Send Start Signal (Allow context switching here via osDelay)
    DHT11_Start();

    // 2. Enter Critical Section
    // We DISABLE interrupts so AudioTask cannot interrupt the sensitive timing
    taskENTER_CRITICAL();

    if (DHT11_Check_Response()) {
        R_H = DHT11_Read_Byte();
        R_D = DHT11_Read_Byte();
        T_H = DHT11_Read_Byte();
        T_D = DHT11_Read_Byte();
        Sum = DHT11_Read_Byte();

        // 3. Exit Critical Section immediately after reading
        taskEXIT_CRITICAL();

        if (Sum == (R_H + R_D + T_H + T_D)) {
            temp_int = T_H;
            hum_int = R_H;
            return 1;
        }
    } else {
        // Ensure we exit critical section even if response failed
        taskEXIT_CRITICAL();
    }
    return 0;
}
/* USER CODE END 4 */

void StartDefaultTask(void const * argument)
{
  for(;;)
  {
    osDelay(1);
  }
}

void StartAudioTask(void const * argument)
{
  /* USER CODE BEGIN StartAudioTask */
    // Helper buffer to make code cleaner
    int16_t *src_buffer = NULL;

    while(1) {
        bool process = false;

        // 1. Check DMA Flags
        if (half_transfer_flag) {
            half_transfer_flag = 0;
            src_buffer = (int16_t *)&i2s_rx_buffer[0];
            process = true;
        } else if (full_transfer_flag) {
            full_transfer_flag = 0;
            src_buffer = (int16_t *)&i2s_rx_buffer[I2S_BUFFER_SIZE / 2];
            process = true;
        }

        if (process && src_buffer) {
            // 2. CRITICAL FIX: Convert Stereo (L/R) to Mono (L only)
            for (int i = 0; i < FRAME_SIZE; i++) {
                // Takes every 2nd sample.
                mono_pcm_buffer[i] = src_buffer[i * 2];
            }

            // 3. Process with Picovoice (using the cleaned MONO buffer)
            pv_status_t status = pv_picovoice_process(picovoice_handle, mono_pcm_buffer);

            if (status != PV_STATUS_SUCCESS) {
                // Optional: Print error only if it's not a standard "empty" frame
            	char msg[] = "\r\nProcess Work failed\r\n";
            	            	HAL_UART_Transmit(&huart2, (uint8_t*)msg, strlen(msg), 100);
            } else {
            	char msg[] = "\r\nProcess Working\r\n";
            	HAL_UART_Transmit(&huart2, (uint8_t*)msg, strlen(msg), 100);
            }
        }
        osDelay(1);
    }
  /* USER CODE END StartAudioTask */
}

void StartControlTask(void const * argument)
{
  /* USER CODE BEGIN StartControlTask */
    osEvent evt;
    while(1) {
        evt = osMessageGet(commandQueueHandle, 200); // 200ms wait
        if (evt.status == osEventMessage) {
            uint8_t cmd = (uint8_t)evt.value.v;
            uint8_t send_ir = 0;
            if (cmd == CMD_WAKE_WORD_DETECTED) {
            	if (flagOn) {
            		AC_SetPower(1);
            		                AC_SendCommand();
            		                flagOn = !flagOn;
            		                sprintf(tx_buffer, "{\"ac\":\"wake-word\",\"power\":\"on\"}\r\n");
            	} else {
            		AC_SetPower(0);
            		                AC_SendCommand();
            		                flagOn = !flagOn;
            		                sprintf(tx_buffer, "{\"ac\":\"wake-word\",\"power\":\"off\"}\r\n");
            	}

                HAL_UART_Transmit(&huart2, (uint8_t*)tx_buffer, strlen(tx_buffer), 100);
                HAL_UART_Transmit(&huart1, (uint8_t*)tx_buffer, strlen(tx_buffer), 100);
            }
            else if (cmd == CMD_AC_ON) {
                            AC_SetPower(1);
                            send_ir = 1;
                            sprintf(tx_buffer, "{\"ac\":\"power-on\",\"source\":\"voice\"}\r\n");
                        }
                        else if (cmd == CMD_AC_OFF) {
                            AC_SetPower(0);
                            send_ir = 1;
                            sprintf(tx_buffer, "{\"ac\":\"power-off\",\"source\":\"voice\"}\r\n");
                        }
                        else if (cmd == CMD_FAN_LOW) {
                            AC_SetFan(DAIKIN176_FAN_LOW);
                            send_ir = 1;
                            sprintf(tx_buffer, "{\"ac\":\"fan-low\",\"source\":\"voice\"}\r\n");
                        }
                        else if (cmd == CMD_FAN_MED) {
                            AC_SetFan(DAIKIN176_FAN_MED);
                            send_ir = 1;
                            sprintf(tx_buffer, "{\"ac\":\"fan-med\",\"source\":\"voice\"}\r\n");
                        }
                        else if (cmd == CMD_FAN_HIGH) {
                            AC_SetFan(DAIKIN176_FAN_HIGH);
                            send_ir = 1;
                            sprintf(tx_buffer, "{\"ac\":\"fan-high\",\"source\":\"voice\"}\r\n");
                        }
                        else if (cmd == CMD_MODE_COOL) {
                            AC_SetMode(DAIKIN176_MODE_COOL);
                            send_ir = 1;
                            sprintf(tx_buffer, "{\"ac\":\"mode-cool\",\"source\":\"voice\"}\r\n");
                        }
                        else if (cmd == CMD_MODE_DRY) {
                            AC_SetMode(DAIKIN176_MODE_DRY);
                            send_ir = 1;
                            sprintf(tx_buffer, "{\"ac\":\"mode-dry\",\"source\":\"voice\"}\r\n");
                        }
                        else if (cmd == CMD_MODE_FAN) {
                            AC_SetMode(DAIKIN176_MODE_FAN);
                            send_ir = 1;
                            sprintf(tx_buffer, "{\"ac\":\"mode-fan\",\"source\":\"voice\"}\r\n");
                        }
                        else if (cmd == CMD_SWING_ON) {
                            AC_SetSwing(1);
                            send_ir = 1;
                            sprintf(tx_buffer, "{\"ac\":\"swing-on\",\"source\":\"voice\"}\r\n");
                        }
                        else if (cmd == CMD_SWING_OFF) {
                            AC_SetSwing(0);
                            send_ir = 1;
                            sprintf(tx_buffer, "{\"ac\":\"swing-off\",\"source\":\"voice\"}\r\n");
                        }
                        else if (cmd == CMD_TEMP_WARMER) {
                            if (ac_temp < 32) {
                                AC_SetTemp(ac_temp + 1);
                                send_ir = 1;
                                sprintf(tx_buffer, "{\"ac\":\"temp-up\",\"val\":%d,\"source\":\"voice\"}\r\n", ac_temp);
                            }
                        }
                        else if (cmd == CMD_TEMP_COOLER) {
                            if (ac_temp > 18) {
                                AC_SetTemp(ac_temp - 1);
                                send_ir = 1;
                                sprintf(tx_buffer, "{\"ac\":\"temp-down\",\"val\":%d,\"source\":\"voice\"}\r\n", ac_temp);
                            }
                        }
            else if (cmd == CMD_UART_MSG_READY) {
                for (int i = 0; msg_buffer[i]; i++) msg_buffer[i] = tolower((unsigned char)msg_buffer[i]);

                //uint8_t send_ir = 0;

                // Power commands
                if (strstr(msg_buffer, "power-on")) {
                    AC_SetPower(1);
                    send_ir = 1;
                    sprintf(tx_buffer, "{\"ac\":\"power-on\",\"status\":\"ok\"}\r\n");
                }
                else if (strstr(msg_buffer, "power-off")) {
                    AC_SetPower(0);
                    send_ir = 1;
                    sprintf(tx_buffer, "{\"ac\":\"power-off\",\"status\":\"ok\"}\r\n");
                }
                // Fan commands
                else if (strstr(msg_buffer, "fan-low")) {
                    AC_SetFan(DAIKIN176_FAN_LOW);
                    send_ir = 1;
                    sprintf(tx_buffer, "{\"ac\":\"fan-low\",\"status\":\"ok\"}\r\n");
                }
                else if (strstr(msg_buffer, "fan-med")) {
                    AC_SetFan(DAIKIN176_FAN_MED);
                    send_ir = 1;
                    sprintf(tx_buffer, "{\"ac\":\"fan-med\",\"status\":\"ok\"}\r\n");
                }
                else if (strstr(msg_buffer, "fan-high")) {
                    AC_SetFan(DAIKIN176_FAN_HIGH);
                    send_ir = 1;
                    sprintf(tx_buffer, "{\"ac\":\"fan-high\",\"status\":\"ok\"}\r\n");
                }
                // Mode commands
                else if (strstr(msg_buffer, "mode-cool")) {
                    AC_SetMode(DAIKIN176_MODE_COOL);
                    send_ir = 1;
                    sprintf(tx_buffer, "{\"ac\":\"mode-cool\",\"status\":\"ok\"}\r\n");
                }
                else if (strstr(msg_buffer, "mode-heat")) {
                    AC_SetMode(DAIKIN176_MODE_HEAT);
                    send_ir = 1;
                    sprintf(tx_buffer, "{\"ac\":\"mode-heat\",\"status\":\"ok\"}\r\n");
                }
                else if (strstr(msg_buffer, "mode-auto")) {
                    AC_SetMode(DAIKIN176_MODE_AUTO);
                    send_ir = 1;
                    sprintf(tx_buffer, "{\"ac\":\"mode-auto\",\"status\":\"ok\"}\r\n");
                }
                else if (strstr(msg_buffer, "mode-dry")) {
                    AC_SetMode(DAIKIN176_MODE_DRY);
                    send_ir = 1;
                    sprintf(tx_buffer, "{\"ac\":\"mode-dry\",\"status\":\"ok\"}\r\n");
                }
                else if (strstr(msg_buffer, "mode-fan")) {
                    AC_SetMode(DAIKIN176_MODE_FAN);
                    send_ir = 1;
                    sprintf(tx_buffer, "{\"ac\":\"mode-fan\",\"status\":\"ok\"}\r\n");
                }
                // Temperature command
                else if (strncmp(msg_buffer, "temp-", 5) == 0) {
                    int t = atoi(&msg_buffer[5]);
                    if (t >= 18 && t <= 32) {
                        AC_SetTemp((uint8_t)t);
                        send_ir = 1;
                        sprintf(tx_buffer, "{\"ac\":\"temp-%d\",\"status\":\"ok\"}\r\n", t);
                    } else {
                        sprintf(tx_buffer, "{\"ac\":\"temp\",\"error\":\"range 18-32\"}\r\n");
                    }
                }
                // Swing commands
                else if (strstr(msg_buffer, "swing-on")) {
                    AC_SetSwing(1);
                    send_ir = 1;
                    sprintf(tx_buffer, "{\"ac\":\"swing-on\",\"status\":\"ok\"}\r\n");
                }
                else if (strstr(msg_buffer, "swing-off")) {
                    AC_SetSwing(0);
                    send_ir = 1;
                    sprintf(tx_buffer, "{\"ac\":\"swing-off\",\"status\":\"ok\"}\r\n");
                }
                // Status command
                else if (strstr(msg_buffer, "status")) {
                    sprintf(tx_buffer,
                        "{\"power\":\"%s\",\"mode\":\"%s\",\"fan\":\"%s\",\"temp\":%d,"
                        "\"swing\":\"%s\",\"status\":\"ok\"}\r\n",
                        ac_power ? "on" : "off",
                        AC_GetModeString(ac_mode),
                        AC_GetFanString(ac_fan),
                        ac_temp,
                        ac_swing ? "on" : "off");
                }
                // DHT11 Report
                else if (strstr(msg_buffer, "report")) {
                    if (DHT11_Read_Data()) {
                        sprintf(tx_buffer,
                            "{\"temperature\":%d,\"humidity\":%d,\"unit\":\"C\",\"status\":\"ok\"}\r\n",
                            temp_int, hum_int);
                    } else {
                        sprintf(tx_buffer,
                            "{\"temperature\":null,\"humidity\":null,\"status\":\"error\"}\r\n");
                    }
                }
                else {
                    sprintf(tx_buffer, "{\"error\":\"unknown_command\"}\r\n");
                }

                // Send IR command if needed
                if (send_ir && !ir_busy) {
                                AC_SendCommand();
                                HAL_UART_Transmit(&huart2, (uint8_t*)tx_buffer, strlen(tx_buffer), 100);
                                HAL_UART_Transmit(&huart1, (uint8_t*)tx_buffer, strlen(tx_buffer), 100);
                            }

//                HAL_UART_Transmit(&huart2, (uint8_t*)tx_buffer, strlen(tx_buffer), 100);
//                HAL_UART_Transmit(&huart1, (uint8_t*)tx_buffer, strlen(tx_buffer), 100);

//                msg_ready = 0;
//                msg_index = 0;
            }
        }
    }
  /* USER CODE END StartControlTask */
}

void Error_Handler(void)
{
  __disable_irq();
  while (1)
  {
  }
}
